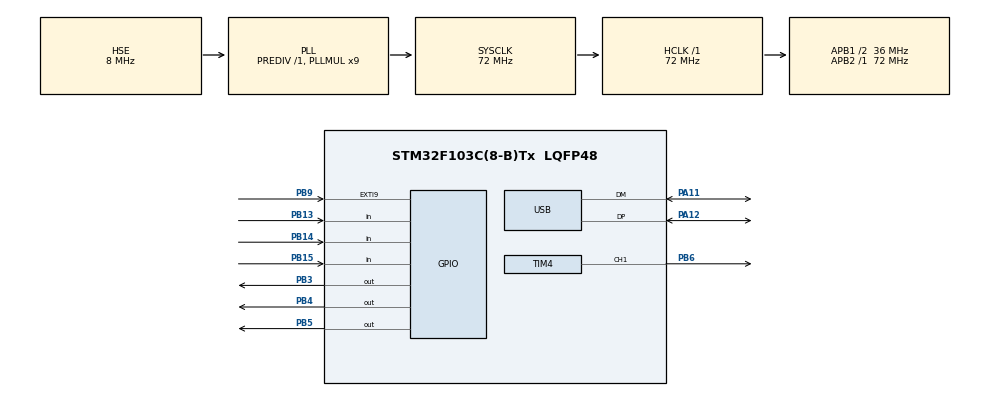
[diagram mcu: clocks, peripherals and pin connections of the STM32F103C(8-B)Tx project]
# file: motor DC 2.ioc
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Mcu.Family=STM32F1
Mcu.Name=STM32F103C(8-B)Tx
Mcu.Package=LQFP48
NVIC.EXTI9_5_IRQn=true\:0\:0\:false\:false\:true\:true\:true\:true
NVIC.PriorityGroup=NVIC_PRIORITYGROUP_4
NVIC.TIM2_IRQn=true\:0\:0\:false\:false\:true\:true\:true\:true
NVIC.USB_LP_CAN1_RX0_IRQn=true\:0\:0\:false\:false\:true\:false\:true\:true
PA11.Mode=Device
PA11.Signal=USB_DM
PA12.Mode=Device
PA12.Signal=USB_DP
PA13.Mode=Serial_Wire
PA13.Signal=SYS_JTMS-SWDIO
PA14.Mode=Serial_Wire
PA14.Signal=SYS_JTCK-SWCLK
PB13.GPIO_PuPd=GPIO_PULLUP
PB13.Signal=GPIO_Input
PB14.GPIO_PuPd=GPIO_PULLUP
PB14.Signal=GPIO_Input
PB15.GPIO_PuPd=GPIO_PULLUP
PB15.Signal=GPIO_Input
PB3.GPIO_Speed=GPIO_SPEED_FREQ_HIGH
PB3.Signal=GPIO_Output
PB4.GPIO_Speed=GPIO_SPEED_FREQ_HIGH
PB4.Signal=GPIO_Output
PB5.GPIO_Speed=GPIO_SPEED_FREQ_HIGH
PB5.Signal=GPIO_Output
PB6.Signal=S_TIM4_CH1
PB9.GPIO_ModeDefaultEXTI=GPIO_MODE_IT_RISING
PB9.Signal=GPXTI9
PD0-OSC_IN.Mode=HSE-External-Oscillator
PD0-OSC_IN.Signal=RCC_OSC_IN
PD1-OSC_OUT.Mode=HSE-External-Oscillator
PD1-OSC_OUT.Signal=RCC_OSC_OUT
ProjectManager.HeapSize=0x200
ProjectManager.StackSize=0x400
ProjectManager.TargetToolchain=STM32CubeIDE
RCC.AHBFreq_Value=72000000
RCC.APB1CLKDivider=RCC_HCLK_DIV2
RCC.APB1Freq_Value=36000000
RCC.APB1TimFreq_Value=72000000
RCC.APB2Freq_Value=72000000
RCC.APB2TimFreq_Value=72000000
RCC.HCLKFreq_Value=72000000
RCC.PLLMUL=RCC_PLL_MUL9
RCC.SYSCLKFreq_VALUE=72000000
RCC.SYSCLKSource=RCC_SYSCLKSOURCE_PLLCLK
RCC.USBFreq_Value=48000000
RCC.USBPrescaler=RCC_USBCLKSOURCE_PLL_DIV1_5
SH.S_TIM4_CH1.0=TIM4_CH1,PWM Generation1 CH1
TIM2.Period=10000
TIM2.Prescaler=72
TIM4.Channel-PWM\ Generation1\ CH1=TIM_CHANNEL_1
TIM4.Prescaler=8
USB_DEVICE.CLASS_NAME_FS=CDC
USB_DEVICE.VirtualMode=Cdc
USB_DEVICE.VirtualModeFS=Cdc_FS
VP_TIM2_VS_ClockSourceINT.Mode=Internal
VP_TIM4_VS_ClockSourceINT.Mode=Internal
VP_USB_DEVICE_VS_USB_DEVICE_CDC_FS.Mode=CDC_FS
board=custom

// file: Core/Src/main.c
/* USER CODE BEGIN Header */
/**
  ******************************************************************************
  * @file           : main.c
  * @brief          : Main program body
  ******************************************************************************
  * @attention
  *
  * Copyright (c) 2025 STMicroelectronics.
  * All rights reserved.
  *
  * This software is licensed under terms that can be found in the LICENSE file
  * in the root directory of this software component.
  * If no LICENSE file comes with this software, it is provided AS-IS.
  *
  ******************************************************************************
  */
/* USER CODE END Header */
#include "main.h"
#include "usb_device.h"

/* USER CODE BEGIN Includes */
#include "usbd_cdc_if.h"
#include "string.h"
#include "stdio.h"
/* USER CODE END Includes */

/* USER CODE BEGIN PD */
// --- Các thông số của Encoder và Bánh xe ---
#define PULSES_PER_REVOLUTION   20.0f   // Số xung trên một vòng quay của đĩa encoder
#define WHEEL_DIAMETER_M        0.065f  // Đường kính bánh xe (mét), ví dụ: 6.5cm
#define PI                      3.14159f
/* USER CODE END PD */

TIM_HandleTypeDef htim2;
TIM_HandleTypeDef htim4;

/* USER CODE BEGIN PV */
volatile float giatrido_hientai, error = 0, error_truoc = 0;
volatile static float integral = 0, derivative = 0;
volatile float setpoint = 400, Kp = 10, Ki = 4, Kd = 1;
volatile float Delta_t = 0.01;
volatile float output;

/* USER CODE END PV */

void SystemClock_Config(void);
static void MX_GPIO_Init(void);
static void MX_TIM4_Init(void);
static void MX_TIM2_Init(void);

/* USER CODE BEGIN 0 */
#define GPIO_NN_Thuan GPIOB
#define GPIO_PIN_NN_Thuan GPIO_PIN_13
#define GPIO_NN_Nghich GPIOB
#define GPIO_PIN_NN_Nghich GPIO_PIN_14
#define GPIO_NN_Dung GPIOB
#define GPIO_PIN_NN_Dung GPIO_PIN_15
#define GPIO_IN1 GPIOB
#define GPIO_PIN_IN1 GPIO_PIN_3
#define GPIO_IN2 GPIOB
#define GPIO_PIN_IN2 GPIO_PIN_4
#define GPIO_ENA GPIOB
#define GPIO_PIN_ENA GPIO_PIN_5

int TrangThai = 0;

void Xuat_PWM(TIM_HandleTypeDef *htim, uint32_t Channel, float Duty_Cycle) {
Duty_Cycle = Duty_Cycle / 100 * htim->Instance->ARR;
__HAL_TIM_SET_COMPARE(htim, Channel, (uint16_t)Duty_Cycle);
}

void QuayThuan() {
HAL_GPIO_WritePin(GPIO_IN1, GPIO_PIN_IN1, GPIO_PIN_SET);
HAL_GPIO_WritePin(GPIO_IN2, GPIO_PIN_IN2, GPIO_PIN_RESET);
HAL_GPIO_WritePin(GPIO_ENA, GPIO_PIN_ENA, GPIO_PIN_SET);
}
void QuayNghich() {
HAL_GPIO_WritePin(GPIO_IN1, GPIO_PIN_IN1, GPIO_PIN_RESET);
HAL_GPIO_WritePin(GPIO_IN2, GPIO_PIN_IN2, GPIO_PIN_SET);
HAL_GPIO_WritePin(GPIO_ENA, GPIO_PIN_ENA, GPIO_PIN_SET);
}
void Dung() {
HAL_GPIO_WritePin(GPIO_IN1, GPIO_PIN_IN1, GPIO_PIN_RESET);
HAL_GPIO_WritePin(GPIO_IN2, GPIO_PIN_IN2, GPIO_PIN_RESET);
HAL_GPIO_WritePin(GPIO_ENA, GPIO_PIN_ENA, GPIO_PIN_RESET);
}
void KiemTra_NN() {
if (HAL_GPIO_ReadPin(GPIO_NN_Thuan, GPIO_PIN_NN_Thuan) == 0) {
TrangThai = 1;
}
if (HAL_GPIO_ReadPin(GPIO_NN_Nghich, GPIO_PIN_NN_Nghich) == 0) {
TrangThai = 2;
}
if (HAL_GPIO_ReadPin(GPIO_NN_Dung, GPIO_PIN_NN_Dung) == 0) {
TrangThai = 0;
}
}

volatile long xung;
void HAL_GPIO_EXTI_Callback(uint16_t GPIO_Pin)
{
  // 1. Kiểm tra xem có đúng là ngắt từ PB9 không
  if(GPIO_Pin == GPIO_PIN_9)
  {
      // 2. KIỂM TRA CHIỀU QUAY MÀ PID ĐANG RA LỆNH
      if (output > 0) {
          xung++; // Nếu PID đang lệnh quay thuận, đếm lên
      } else if (output < 0) {
          xung--; // Nếu PID đang lệnh quay nghịch, đếm xuống
      }
    }
  }

void DieuKhienViTri() {
if (output > 0) {
QuayThuan();
Xuat_PWM(&htim4, TIM_CHANNEL_1, output);
}
if (output < 0) {
QuayNghich();
Xuat_PWM(&htim4, TIM_CHANNEL_1, -output);
}
if (output == 0) {
Dung();
Xuat_PWM(&htim4, TIM_CHANNEL_1, output);
}
}

void HAL_TIM_PeriodElapsedCallback(TIM_HandleTypeDef *htim) {
if (htim == &htim2) {
giatrido_hientai = xung;
error = setpoint - giatrido_hientai;
integral = integral + (error * Delta_t);
if (integral > 100) integral = 100;
else if (integral < -100) integral = -100;
derivative = (error - error_truoc) / Delta_t;
output = (Kp * error) + (Ki * integral) + (Kd * derivative);
if (output > 100)
output = 100;
if (output < -100)
output = -100;
error_truoc = error;
DieuKhienViTri();
}
}
/* USER CODE END 0 */

int main(void)
{

  /* USER CODE BEGIN 1
	// Các biến để tính toán tốc độ
	  uint32_t last_calc_time = 0;
	  int rpm = 0;
	  float speed_mps = 0.0f; // Tốc độ mét/giây
	  char usb_buffer[100];
	  const float wheel_circumference_m = WHEEL_DIAMETER_M * PI;
  /* USER CODE END 1 */

  /* MCU Configuration--------------------------------------------------------*/

  /* Reset of all peripherals, Initializes the Flash interface and the Systick. */
  HAL_Init();

  /* Configure the system clock */
  SystemClock_Config();

  /* Initialize all configured peripherals */
  MX_GPIO_Init();
  MX_TIM4_Init();
  MX_USB_DEVICE_Init();
  MX_TIM2_Init();
  /* USER CODE BEGIN 2 */
  HAL_TIM_PWM_Start(&htim4, TIM_CHANNEL_1);
  // Hàm set giá trị so sánh của PWM 75%;

  HAL_TIM_Base_Start_IT(&htim2);
  /* USER CODE END 2 */

  /* Infinite loop */
  /* USER CODE BEGIN WHILE */
  while (1)
    {
	  char str[200];
	  sprintf(str, "vi=%.2f D=%.2f er=%.2f in=%.2f \r\n",
	  giatrido_hientai,
	  output, error, integral);
	  CDC_Transmit_FS((uint8_t*) str, strlen(str));
	  HAL_Delay(50);

      /* 1. Luôn kiểm tra và điều khiển động cơ
      KiemTra_NN();
      if (TrangThai == 0) { Dung(); }
      if (TrangThai == 1) { QuayThuan(); }
      if (TrangThai == 2) { QuayNghich(); }

      /* 2. Tính toán và gửi dữ liệu tốc độ mỗi 1 giây
      uint32_t current_time = HAL_GetTick();
      if (current_time - last_calc_time >= 1000)
      {
          last_calc_time = current_time;

          // Tạm thời vô hiệu hóa ngắt để đọc và reset biến 'xung' một cách an toàn
          __disable_irq();
          long current_pulses = xung;
          xung = 0;
          __enable_irq();

          // Tính toán
          // (xung/giây) / (xung/vòng) = vòng/giây
          float rps = (float)current_pulses / PULSES_PER_REVOLUTION; // Revolutions Per Second
          rpm = rps * 60; // Revolutions Per Minute

          // (vòng/giây) * (mét/vòng) = mét/giây
          speed_mps = rps * wheel_circumference_m;

          // Chuẩn bị chuỗi dữ liệu để gửi đi
          sprintf(usb_buffer, "RPM: %d | Speed: %.2f m/s\r\n", rpm, speed_mps);
          CDC_Transmit_FS((uint8_t*)usb_buffer, strlen(usb_buffer));
      }
    /* USER CODE END WHILE */

  }
}

void SystemClock_Config(void)
{
  RCC_OscInitTypeDef RCC_OscInitStruct = {0};
  RCC_ClkInitTypeDef RCC_ClkInitStruct = {0};
  RCC_PeriphCLKInitTypeDef PeriphClkInit = {0};

  /** Initializes the RCC Oscillators according to the specified parameters
  * in the RCC_OscInitTypeDef structure.
  */
  RCC_OscInitStruct.OscillatorType = RCC_OSCILLATORTYPE_HSE;
  RCC_OscInitStruct.HSEState = RCC_HSE_ON;
  RCC_OscInitStruct.HSEPredivValue = RCC_HSE_PREDIV_DIV1;
  RCC_OscInitStruct.HSIState = RCC_HSI_ON;
  RCC_OscInitStruct.PLL.PLLState = RCC_PLL_ON;
  RCC_OscInitStruct.PLL.PLLSource = RCC_PLLSOURCE_HSE;
  RCC_OscInitStruct.PLL.PLLMUL = RCC_PLL_MUL9;
  if (HAL_RCC_OscConfig(&RCC_OscInitStruct) != HAL_OK)
  {
    Error_Handler();
  }

  /** Initializes the CPU, AHB and APB buses clocks
  */
  RCC_ClkInitStruct.ClockType = RCC_CLOCKTYPE_HCLK|RCC_CLOCKTYPE_SYSCLK
                              |RCC_CLOCKTYPE_PCLK1|RCC_CLOCKTYPE_PCLK2;
  RCC_ClkInitStruct.SYSCLKSource = RCC_SYSCLKSOURCE_PLLCLK;
  RCC_ClkInitStruct.AHBCLKDivider = RCC_SYSCLK_DIV1;
  RCC_ClkInitStruct.APB1CLKDivider = RCC_HCLK_DIV2;
  RCC_ClkInitStruct.APB2CLKDivider = RCC_HCLK_DIV1;

  if (HAL_RCC_ClockConfig(&RCC_ClkInitStruct, FLASH_LATENCY_2) != HAL_OK)
  {
    Error_Handler();
  }
  PeriphClkInit.PeriphClockSelection = RCC_PERIPHCLK_USB;
  PeriphClkInit.UsbClockSelection = RCC_USBCLKSOURCE_PLL_DIV1_5;
  if (HAL_RCCEx_PeriphCLKConfig(&PeriphClkInit) != HAL_OK)
  {
    Error_Handler();
  }
}

static void MX_TIM2_Init(void)
{

  TIM_ClockConfigTypeDef sClockSourceConfig = {0};
  TIM_MasterConfigTypeDef sMasterConfig = {0};

  htim2.Instance = TIM2;
  htim2.Init.Prescaler = 72;
  htim2.Init.CounterMode = TIM_COUNTERMODE_UP;
  htim2.Init.Period = 10000;
  htim2.Init.ClockDivision = TIM_CLOCKDIVISION_DIV1;
  htim2.Init.AutoReloadPreload = TIM_AUTORELOAD_PRELOAD_DISABLE;
  if (HAL_TIM_Base_Init(&htim2) != HAL_OK)
  {
    Error_Handler();
  }
  sClockSourceConfig.ClockSource = TIM_CLOCKSOURCE_INTERNAL;
  if (HAL_TIM_ConfigClockSource(&htim2, &sClockSourceConfig) != HAL_OK)
  {
    Error_Handler();
  }
  sMasterConfig.MasterOutputTrigger = TIM_TRGO_RESET;
  sMasterConfig.MasterSlaveMode = TIM_MASTERSLAVEMODE_DISABLE;
  if (HAL_TIMEx_MasterConfigSynchronization(&htim2, &sMasterConfig) != HAL_OK)
  {
    Error_Handler();
  }

}

static void MX_TIM4_Init(void)
{

  TIM_ClockConfigTypeDef sClockSourceConfig = {0};
  TIM_MasterConfigTypeDef sMasterConfig = {0};
  TIM_OC_InitTypeDef sConfigOC = {0};

  htim4.Instance = TIM4;
  htim4.Init.Prescaler = 8;
  htim4.Init.CounterMode = TIM_COUNTERMODE_UP;
  htim4.Init.Period = 65535;
  htim4.Init.ClockDivision = TIM_CLOCKDIVISION_DIV1;
  htim4.Init.AutoReloadPreload = TIM_AUTORELOAD_PRELOAD_DISABLE;
  if (HAL_TIM_Base_Init(&htim4) != HAL_OK)
  {
    Error_Handler();
  }
  sClockSourceConfig.ClockSource = TIM_CLOCKSOURCE_INTERNAL;
  if (HAL_TIM_ConfigClockSource(&htim4, &sClockSourceConfig) != HAL_OK)
  {
    Error_Handler();
  }
  if (HAL_TIM_PWM_Init(&htim4) != HAL_OK)
  {
    Error_Handler();
  }
  sMasterConfig.MasterOutputTrigger = TIM_TRGO_RESET;
  sMasterConfig.MasterSlaveMode = TIM_MASTERSLAVEMODE_DISABLE;
  if (HAL_TIMEx_MasterConfigSynchronization(&htim4, &sMasterConfig) != HAL_OK)
  {
    Error_Handler();
  }
  sConfigOC.OCMode = TIM_OCMODE_PWM1;
  sConfigOC.Pulse = 0;
  sConfigOC.OCPolarity = TIM_OCPOLARITY_HIGH;
  sConfigOC.OCFastMode = TIM_OCFAST_DISABLE;
  if (HAL_TIM_PWM_ConfigChannel(&htim4, &sConfigOC, TIM_CHANNEL_1) != HAL_OK)
  {
    Error_Handler();
  }
  HAL_TIM_MspPostInit(&htim4);

}

static void MX_GPIO_Init(void)
{
  GPIO_InitTypeDef GPIO_InitStruct = {0};

  /* GPIO Ports Clock Enable */
  __HAL_RCC_GPIOD_CLK_ENABLE();
  __HAL_RCC_GPIOB_CLK_ENABLE();
  __HAL_RCC_GPIOA_CLK_ENABLE();

  /*Configure GPIO pin Output Level */
  HAL_GPIO_WritePin(GPIOB, GPIO_PIN_3|GPIO_PIN_4|GPIO_PIN_5, GPIO_PIN_RESET);

  /*Configure GPIO pins : PB13 PB14 PB15 */
  GPIO_InitStruct.Pin = GPIO_PIN_13|GPIO_PIN_14|GPIO_PIN_15;
  GPIO_InitStruct.Mode = GPIO_MODE_INPUT;
  GPIO_InitStruct.Pull = GPIO_PULLUP;
  HAL_GPIO_Init(GPIOB, &GPIO_InitStruct);

  /*Configure GPIO pins : PB3 PB4 PB5 */
  GPIO_InitStruct.Pin = GPIO_PIN_3|GPIO_PIN_4|GPIO_PIN_5;
  GPIO_InitStruct.Mode = GPIO_MODE_OUTPUT_PP;
  GPIO_InitStruct.Pull = GPIO_NOPULL;
  GPIO_InitStruct.Speed = GPIO_SPEED_FREQ_HIGH;
  HAL_GPIO_Init(GPIOB, &GPIO_InitStruct);

  /*Configure GPIO pin : PB9 */
  GPIO_InitStruct.Pin = GPIO_PIN_9;
  GPIO_InitStruct.Mode = GPIO_MODE_IT_RISING;
  GPIO_InitStruct.Pull = GPIO_NOPULL;
  HAL_GPIO_Init(GPIOB, &GPIO_InitStruct);

  /* EXTI interrupt init*/
  HAL_NVIC_SetPriority(EXTI9_5_IRQn, 0, 0);
  HAL_NVIC_EnableIRQ(EXTI9_5_IRQn);

}

void Error_Handler(void)
{
  __disable_irq();
  while (1)
  {
  }
}
